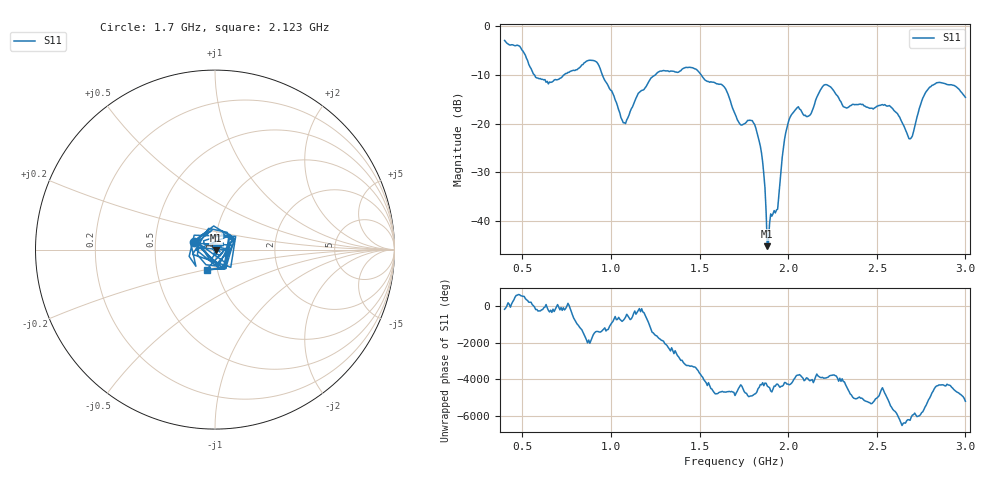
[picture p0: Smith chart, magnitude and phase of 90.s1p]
!Created with skrf (http://scikit-rf.org).
# Hz S RI R 50.0
!freq ReS11 ImS11
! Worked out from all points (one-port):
!   401 points, 400 MHz to 3 GHz, reference 50 ohm
!   lowest |S11| = -45.2 dB at 1.882 GHz (marker M1), VSWR 1.01, Z = 50.4 - j0.346 ohm
!   |S11| at or under -10 dB: 569.1 MHz to 734.2 MHz (165.1 MHz wide, 25.3 % of centre); 951.5 MHz to 1.25 GHz (298.7 MHz wide, 27.1 % of centre); 1.509 GHz to end of sweep
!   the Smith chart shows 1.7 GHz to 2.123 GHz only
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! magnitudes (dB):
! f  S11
! 400 MHz  -2.9
! 491 MHz  -4.4
! 588.5 MHz  -10.6
! 725 MHz  -10.4
! 913.5 MHz  -7.2
! 1.05 GHz  -17.8
! 1.083 GHz  -20.0
! 1.264 GHz  -9.5
! 1.375 GHz  -9.5
! 1.46 GHz  -8.5
! 1.629 GHz  -12.1
! 1.7 GHz  -18.0
! 1.823 GHz  -21.7
! 1.856 GHz  -27.9
! 1.882 GHz  -45.2
! 1.895 GHz  -40.5
! 1.934 GHz  -37.8
! 1.986 GHz  -21.9
! 2.025 GHz  -17.9
! 2.116 GHz  -18.4
! 2.213 GHz  -12.0
! 2.35 GHz  -16.3
! 2.578 GHz  -16.5
! 2.675 GHz  -22.4
! 2.695 GHz  -22.9
! 2.76 GHz  -14.8
! 2.812 GHz  -12.1
! 3 GHz  -14.6
